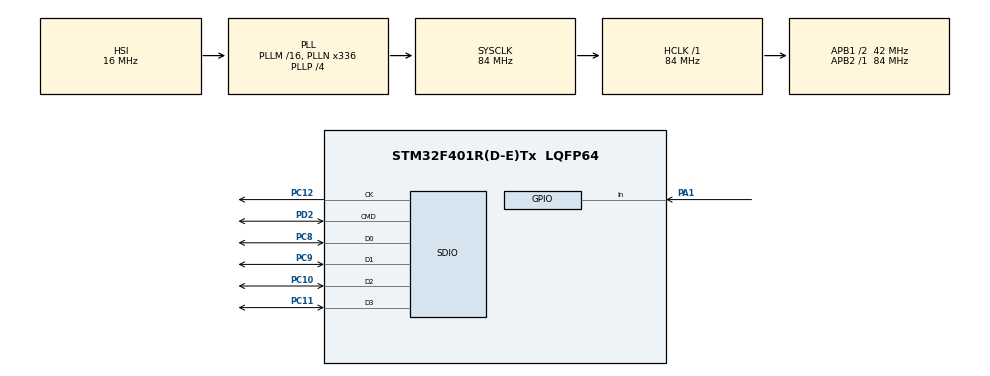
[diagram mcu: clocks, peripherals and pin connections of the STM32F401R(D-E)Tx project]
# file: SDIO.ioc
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FATFS.BSP.number=1
FATFS.USE_DMA_CODE_SD=1
FATFS0.BSP.STBoard=false
FATFS0.BSP.api=Unknown
FATFS0.BSP.instance=PA1
FATFS0.BSP.ip=GPIO
FATFS0.BSP.mode=Input
FATFS0.BSP.name=Detect_SDIO
FATFS0.BSP.solution=PA1
Mcu.Family=STM32F4
Mcu.Name=STM32F401R(D-E)Tx
Mcu.Package=LQFP64
NVIC.PriorityGroup=NVIC_PRIORITYGROUP_4
PA1.Signal=GPIO_Input
PC10.Mode=SD_4_bits_Wide_bus
PC10.Signal=SDIO_D2
PC11.Mode=SD_4_bits_Wide_bus
PC11.Signal=SDIO_D3
PC12.Mode=SD_4_bits_Wide_bus
PC12.Signal=SDIO_CK
PC8.GPIO_PuPd=GPIO_PULLUP
PC8.Mode=SD_4_bits_Wide_bus
PC8.Signal=SDIO_D0
PC9.Mode=SD_4_bits_Wide_bus
PC9.Signal=SDIO_D1
PD2.GPIO_PuPd=GPIO_PULLUP
PD2.Mode=SD_4_bits_Wide_bus
PD2.Signal=SDIO_CMD
ProjectManager.HeapSize=0x200
ProjectManager.StackSize=0x400
ProjectManager.TargetToolchain=STM32CubeIDE
RCC.48MHZClocksFreq_Value=48000000
RCC.AHBFreq_Value=84000000
RCC.APB1CLKDivider=RCC_HCLK_DIV2
RCC.APB1Freq_Value=42000000
RCC.APB1TimFreq_Value=84000000
RCC.APB2Freq_Value=84000000
RCC.APB2TimFreq_Value=84000000
RCC.CortexFreq_Value=84000000
RCC.HCLKFreq_Value=84000000
RCC.HSE_VALUE=25000000
RCC.HSI_VALUE=16000000
RCC.LSE_VALUE=32768
RCC.PLLN=336
RCC.PLLP=RCC_PLLP_DIV4
RCC.PLLQ=7
RCC.SYSCLKFreq_VALUE=84000000
RCC.SYSCLKSource=RCC_SYSCLKSOURCE_PLLCLK
RCC.VCOOutputFreq_Value=336000000
VP_FATFS_VS_SDIO.Mode=SDIO
board=custom

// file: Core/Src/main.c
/* USER CODE BEGIN Header */
/**
  ******************************************************************************
  * @file           : main.c
  * @brief          : Main program body
  ******************************************************************************
  * @attention
  *
  * Copyright (c) 2024 STMicroelectronics.
  * All rights reserved.
  *
  * This software is licensed under terms that can be found in the LICENSE file
  * in the root directory of this software component.
  * If no LICENSE file comes with this software, it is provided AS-IS.
  *
  ******************************************************************************
  */
/* USER CODE END Header */
#include "main.h"
#include "fatfs.h"

/* USER CODE BEGIN Includes */
static void MX_GPIO_Init(void);
static void MX_SDIO_SD_Init(void);
static void SystemClock_Config(void);
void Error_Handler(void);

FATFS fs;  // FatFS global object
FIL file;  // File object for FatFS
FRESULT res; // FatFS result
/* USER CODE END Includes */

SD_HandleTypeDef hsd;

void SystemClock_Config(void);
static void MX_GPIO_Init(void);
static void MX_SDIO_SD_Init(void);

int main(void)
{

  /* MCU Configuration--------------------------------------------------------*/

  /* Reset of all peripherals, Initializes the Flash interface and the Systick. */
  HAL_Init();

  /* Configure the system clock */
  SystemClock_Config();

  /* Initialize all configured peripherals */
  MX_GPIO_Init();
  MX_SDIO_SD_Init();
  MX_FATFS_Init();
  /* USER CODE BEGIN 2 */

  res = f_mount(&fs, "", 0); // Mount the file system (default drive)
      if (res != FR_OK) {
          Error_Handler(); // If mount fails, go to error handler
      }

      // Create and open a new file called "test.txt"
      res = f_open(&file, "test.txt", FA_CREATE_ALWAYS | FA_WRITE);
      if (res != FR_OK) {
          Error_Handler(); // If file open fails, go to error handler
      }

      // Write a string to the file
      const char *text = "Hello, STM32 World!\n";
      unsigned int bytesWritten;
      res = f_write(&file, text, strlen(text), &bytesWritten);
      if (res != FR_OK) {
          Error_Handler(); // If write fails, go to error handler
      }

      // Close the file
      res = f_close(&file);
      if (res != FR_OK) {
          Error_Handler(); // If file close fails, go to error handler
      }

      // Optionally, unmount the file system
      f_mount(NULL, "", 0);

  /* USER CODE END 2 */

  /* Infinite loop */
  while (1)
  {

  }
}

void SystemClock_Config(void)
{
  RCC_OscInitTypeDef RCC_OscInitStruct = {0};
  RCC_ClkInitTypeDef RCC_ClkInitStruct = {0};

  /** Configure the main internal regulator output voltage
  */
  __HAL_RCC_PWR_CLK_ENABLE();
  __HAL_PWR_VOLTAGESCALING_CONFIG(PWR_REGULATOR_VOLTAGE_SCALE2);

  /** Initializes the RCC Oscillators according to the specified parameters
  * in the RCC_OscInitTypeDef structure.
  */
  RCC_OscInitStruct.OscillatorType = RCC_OSCILLATORTYPE_HSI;
  RCC_OscInitStruct.HSIState = RCC_HSI_ON;
  RCC_OscInitStruct.HSICalibrationValue = RCC_HSICALIBRATION_DEFAULT;
  RCC_OscInitStruct.PLL.PLLState = RCC_PLL_ON;
  RCC_OscInitStruct.PLL.PLLSource = RCC_PLLSOURCE_HSI;
  RCC_OscInitStruct.PLL.PLLM = 16;
  RCC_OscInitStruct.PLL.PLLN = 336;
  RCC_OscInitStruct.PLL.PLLP = RCC_PLLP_DIV4;
  RCC_OscInitStruct.PLL.PLLQ = 7;
  if (HAL_RCC_OscConfig(&RCC_OscInitStruct) != HAL_OK)
  {
    Error_Handler();
  }

  /** Initializes the CPU, AHB and APB buses clocks
  */
  RCC_ClkInitStruct.ClockType = RCC_CLOCKTYPE_HCLK|RCC_CLOCKTYPE_SYSCLK
                              |RCC_CLOCKTYPE_PCLK1|RCC_CLOCKTYPE_PCLK2;
  RCC_ClkInitStruct.SYSCLKSource = RCC_SYSCLKSOURCE_PLLCLK;
  RCC_ClkInitStruct.AHBCLKDivider = RCC_SYSCLK_DIV1;
  RCC_ClkInitStruct.APB1CLKDivider = RCC_HCLK_DIV2;
  RCC_ClkInitStruct.APB2CLKDivider = RCC_HCLK_DIV1;

  if (HAL_RCC_ClockConfig(&RCC_ClkInitStruct, FLASH_LATENCY_2) != HAL_OK)
  {
    Error_Handler();
  }
}

static void MX_SDIO_SD_Init(void)
{

  hsd.Instance = SDIO;
  hsd.Init.ClockEdge = SDIO_CLOCK_EDGE_RISING;
  hsd.Init.ClockBypass = SDIO_CLOCK_BYPASS_DISABLE;
  hsd.Init.ClockPowerSave = SDIO_CLOCK_POWER_SAVE_DISABLE;
  hsd.Init.BusWide = SDIO_BUS_WIDE_4B;
  hsd.Init.HardwareFlowControl = SDIO_HARDWARE_FLOW_CONTROL_DISABLE;
  hsd.Init.ClockDiv = 0;

}

static void MX_GPIO_Init(void)
{
  GPIO_InitTypeDef GPIO_InitStruct = {0};

  /* GPIO Ports Clock Enable */
  __HAL_RCC_GPIOA_CLK_ENABLE();
  __HAL_RCC_GPIOC_CLK_ENABLE();
  __HAL_RCC_GPIOD_CLK_ENABLE();

  /*Configure GPIO pin : PA1 */
  GPIO_InitStruct.Pin = GPIO_PIN_1;
  GPIO_InitStruct.Mode = GPIO_MODE_INPUT;
  GPIO_InitStruct.Pull = GPIO_NOPULL;
  HAL_GPIO_Init(GPIOA, &GPIO_InitStruct);

}

void Error_Handler(void)
{
    // Blink an LED, or output an error to a serial terminal to signal failure
    while (1) {
        HAL_GPIO_TogglePin(GPIOA, GPIO_PIN_5);  // Assuming an LED is connected to PA5
        HAL_Delay(500);  // 500ms delay
    }
}
